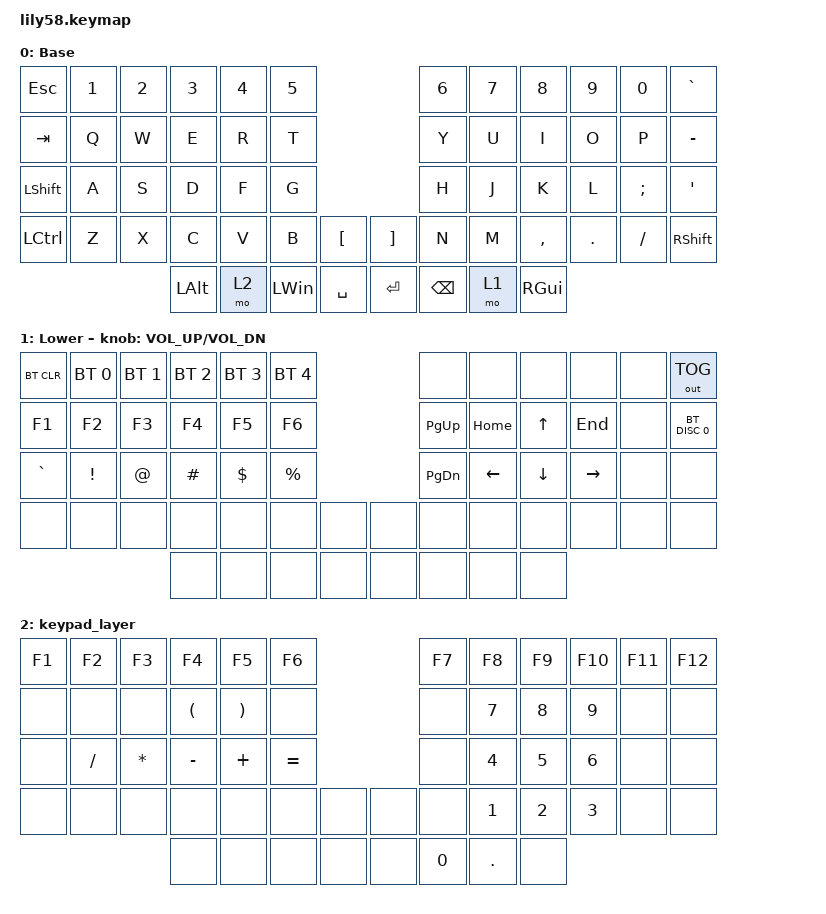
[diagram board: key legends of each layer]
/*
 * Copyright (c) 2020 The ZMK Contributors
 *
 * SPDX-License-Identifier: MIT
 */

#include <behaviors.dtsi>
#include <dt-bindings/zmk/bt.h>
#include <dt-bindings/zmk/keys.h>
#include <dt-bindings/zmk/outputs.h>

/ {
    keymap {
        compatible = "zmk,keymap";

        default_layer {
            // ------------------------------------------------------------------------------------------------------------
            // |  ESC  |  1  |  2  |  3   |  4   |  5   |                   |  6   |  7    |  8    |  9   |   0   |   `   |
            // |  TAB  |  Q  |  W  |  E   |  R   |  T   |                   |  Y   |  U    |  I    |  O   |   P   |   -   |
            // |  CTRL |  A  |  S  |  D   |  F   |  G   |                   |  H   |  J    |  K    |  L   |   ;   |   '   |
            // | SHIFT |  Z  |  X  |  C   |  V   |  B   |   "["  |  |  "]"  |  N   |  M    |  ,    |  .   |   /   | SHIFT |
            //                     | ALT  | GUI  | LOWER|  SPACE |  | ENTER | RAISE| BSPC  | GUI   |

            display-name = "Base";
            bindings = <
&kp ESC           &kp N1  &kp N2  &kp N3    &kp N4  &kp N5                               &kp N6         &kp N7  &kp N8     &kp N9   &kp N0    &kp GRAVE
&kp TAB           &kp Q   &kp W   &kp E     &kp R   &kp T                                &kp Y          &kp U   &kp I      &kp O    &kp P     &kp MINUS
&kp LEFT_SHIFT    &kp A   &kp S   &kp D     &kp F   &kp G                                &kp H          &kp J   &kp K      &kp L    &kp SEMI  &kp SQT
&kp LEFT_CONTROL  &kp Z   &kp X   &kp C     &kp V   &kp B         &kp LBKT     &kp RBKT  &kp N          &kp M   &kp COMMA  &kp DOT  &kp FSLH  &kp RSHFT
                                  &kp LALT  &mo 2   &kp LEFT_WIN  &kp SPACE    &kp RET   &kp BACKSPACE  &mo 1   &kp RGUI
            >;
        };

        lower_layer {
            // ------------------------------------------------------------------------------------------------------------
            // | BTCLR | BT1 | BT2 |  BT3 |  BT4 |  BT5 |                   |      |       |       |      |       |       |
            // |  F1   |  F2 |  F3 |  F4  |  F5  |  F6  |                   |  F7  |  F8   |  F9   |  F10 |  F11  |  F12  |
            // |   `   |  !  |  @  |  #   |  $   |  %   |                   |  ^   |  &    |  *    |  (   |   )   |   ~   |
            // |       |     |     |      |      |      |        |  |       |      |  _    |  +    |  {   |   }   |  "|"  |
            //                     |      |      |      |        |  |       |      |       |       |

            display-name = "Lower";
            bindings = <
&bt BT_CLR  &bt BT_SEL 0  &bt BT_SEL 1  &bt BT_SEL 2  &bt BT_SEL 3  &bt BT_SEL 4                  &none      &none     &none     &none      &none  &out OUT_TOG
&kp F1      &kp F2        &kp F3        &kp F4        &kp F5        &kp F6                        &kp PG_UP  &kp HOME  &kp UP    &kp END    &none  &bt BT_DISC 0
&kp GRAVE   &kp EXCL      &kp AT        &kp HASH      &kp DOLLAR    &kp PRCNT                     &kp PG_DN  &kp LEFT  &kp DOWN  &kp RIGHT  &none  &none
&none       &none         &none         &none         &none         &none         &none    &none  &none      &none     &none     &none      &none  &none
                                        &none         &none         &none         &none    &none  &none      &none     &none
            >;

            sensor-bindings = <&inc_dec_kp C_VOL_UP C_VOL_DN>;
        };

        keypad_layer {
            bindings = <
&kp F1  &kp F2    &kp F3    &kp F4                &kp F5                 &kp F6                     &kp F7  &kp F8   &kp F9  &kp F10  &kp F11  &kp F12
&none   &none     &none     &kp LEFT_PARENTHESIS  &kp RIGHT_PARENTHESIS  &none                      &none   &kp N7   &kp N8  &kp N9   &none    &none
&none   &kp FSLH  &kp STAR  &kp MINUS             &kp PLUS               &kp EQUAL                  &none   &kp N4   &kp N5  &kp N6   &none    &none
&none   &none     &none     &none                 &none                  &none      &none    &none  &none   &kp N1   &kp N2  &kp N3   &none    &none
                            &none                 &none                  &none      &none    &none  &kp N0  &kp DOT  &none
            >;
        };
    };
};
